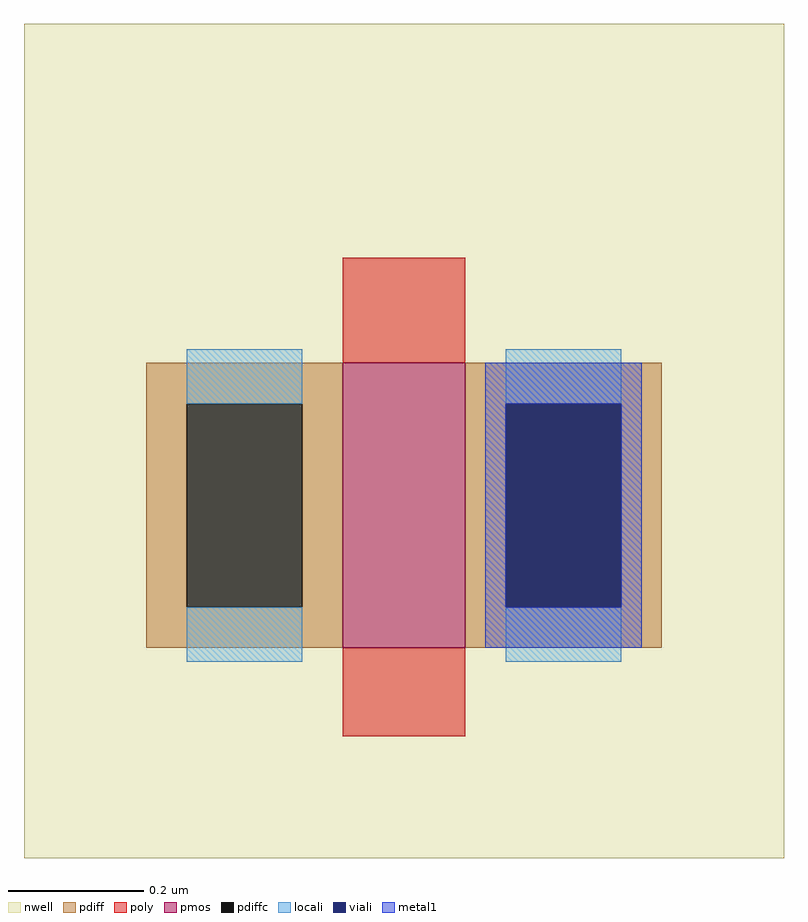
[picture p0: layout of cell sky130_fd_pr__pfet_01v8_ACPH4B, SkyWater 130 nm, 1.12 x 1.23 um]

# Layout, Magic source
magic
tech sky130A
magscale 1 2
<< nwell >>
rect -112 -140 112 106
<< pmos >>
rect -18 -78 18 6
<< pdiff >>
rect -76 -6 -18 6
rect -76 -66 -64 -6
rect -30 -66 -18 -6
rect -76 -78 -18 -66
rect 18 -6 76 6
rect 18 -66 30 -6
rect 64 -66 76 -6
rect 18 -78 76 -66
<< pdiffc >>
rect -64 -66 -30 -6
rect 30 -66 64 -6
<< poly >>
rect -18 6 18 37
rect -18 -104 18 -78
<< locali >>
rect -64 -6 -30 10
rect -64 -82 -30 -66
rect 30 -6 64 10
rect 30 -82 64 -66
<< viali >>
rect 30 -66 64 -6
<< metal1 >>
rect 24 -6 70 6
rect 24 -66 30 -6
rect 64 -66 70 -6
rect 24 -78 70 -66
<< properties >>
string gencell sky130_fd_pr__pfet_01v8
string parameters w 0.42 l 0.18 m 1 nf 1 diffcov 100 polycov 100 guard 0 glc 0 grc 0 gtc 0 gbc 0 tbcov 100 rlcov 100 topc 1 botc 0 poverlap 0 doverlap 1 lmin 0.15 wmin 0.42 compatible {sky130_fd_pr__pfet_01v8  sky130_fd_pr__pfet_01v8_lvt sky130_fd_pr__pfet_01v8_hvt  sky130_fd_pr__pfet_g5v0d10v5} full_metal 0 viasrc 100 viadrn 100 viagate 100 viagb 0 viagr 0 viagl 0 viagt 0
string library sky130
<< end >>
